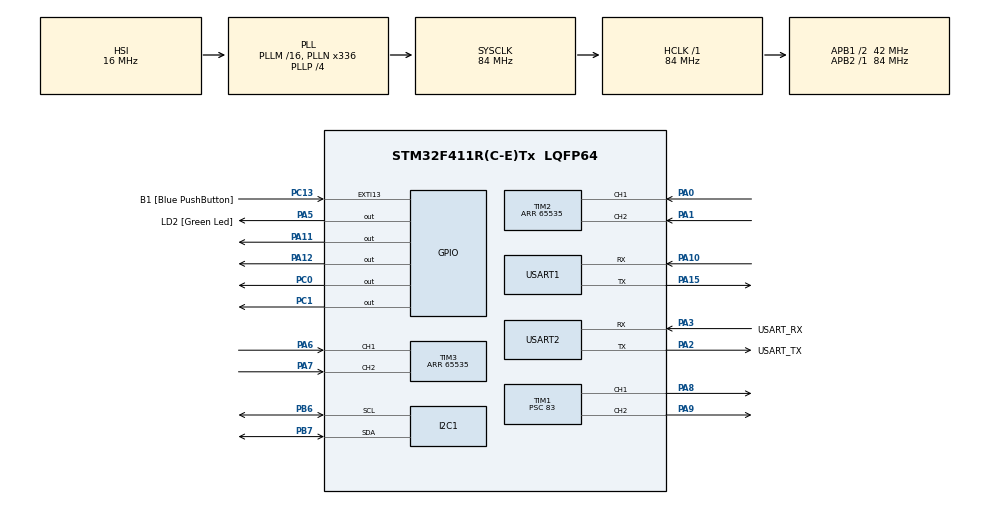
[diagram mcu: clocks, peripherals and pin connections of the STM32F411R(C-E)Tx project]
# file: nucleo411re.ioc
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Dma.Request0=USART1_RX
Dma.USART1_RX.0.Direction=DMA_PERIPH_TO_MEMORY
Dma.USART1_RX.0.FIFOMode=DMA_FIFOMODE_DISABLE
Dma.USART1_RX.0.Instance=DMA2_Stream2
Dma.USART1_RX.0.MemDataAlignment=DMA_MDATAALIGN_BYTE
Dma.USART1_RX.0.MemInc=DMA_MINC_ENABLE
Dma.USART1_RX.0.Mode=DMA_CIRCULAR
Dma.USART1_RX.0.PeriphDataAlignment=DMA_PDATAALIGN_BYTE
Dma.USART1_RX.0.PeriphInc=DMA_PINC_DISABLE
Dma.USART1_RX.0.Priority=DMA_PRIORITY_LOW
Mcu.Family=STM32F4
Mcu.Name=STM32F411R(C-E)Tx
Mcu.Package=LQFP64
NVIC.DMA2_Stream2_IRQn=true\:0\:0\:false\:false\:true\:false
NVIC.PriorityGroup=NVIC_PRIORITYGROUP_0
NVIC.TIM1_BRK_TIM9_IRQn=true\:0\:0\:false\:false\:true\:true
NVIC.TIM4_IRQn=true\:0\:0\:false\:false\:true\:true
NVIC.TIM5_IRQn=true\:0\:0\:false\:false\:true\:true
NVIC.USART1_IRQn=true\:0\:0\:false\:false\:true\:true
PA0-WKUP.Signal=S_TIM2_CH1_ETR
PA1.Signal=S_TIM2_CH2
PA10.Mode=Asynchronous
PA10.Signal=USART1_RX
PA11.Signal=GPIO_Output
PA12.Signal=GPIO_Output
PA13.GPIO_Label=TMS
PA13.Mode=Serial_Wire
PA13.Signal=SYS_JTMS-SWDIO
PA14.GPIO_Label=TCK
PA14.Mode=Serial_Wire
PA14.Signal=SYS_JTCK-SWCLK
PA15.Mode=Asynchronous
PA15.Signal=USART1_TX
PA2.GPIO_Label=USART_TX
PA2.Mode=Asynchronous
PA2.Signal=USART2_TX
PA3.GPIO_Label=USART_RX
PA3.Mode=Asynchronous
PA3.Signal=USART2_RX
PA5.GPIO_Label=LD2 [Green Led]
PA5.Signal=GPIO_Output
PA6.Signal=S_TIM3_CH1
PA7.Signal=S_TIM3_CH2
PA8.Signal=S_TIM1_CH1
PA9.Signal=S_TIM1_CH2
PB3.GPIO_Label=SWO
PB3.Signal=SYS_JTDO-SWO
PB6.GPIO_PuPdOD=GPIO_NOPULL
PB6.Mode=I2C
PB6.Signal=I2C1_SCL
PB7.GPIO_PuPdOD=GPIO_NOPULL
PB7.Mode=I2C
PB7.Signal=I2C1_SDA
PC0.GPIO_ModeDefaultOutputPP=GPIO_MODE_OUTPUT_OD
PC0.Signal=GPIO_Output
PC1.GPIO_ModeDefaultOutputPP=GPIO_MODE_OUTPUT_OD
PC1.Signal=GPIO_Output
PC13-ANTI_TAMP.GPIO_Label=B1 [Blue PushButton]
PC13-ANTI_TAMP.GPIO_ModeDefaultEXTI=GPIO_MODE_IT_FALLING
PC13-ANTI_TAMP.Signal=GPXTI13
PC14-OSC32_IN.Mode=LSE-External-Oscillator
PC14-OSC32_IN.Signal=RCC_OSC32_IN
PC15-OSC32_OUT.Mode=LSE-External-Oscillator
PC15-OSC32_OUT.Signal=RCC_OSC32_OUT
PH0\ -\ OSC_IN.Mode=HSE-External-Clock-Source
PH0\ -\ OSC_IN.Signal=RCC_OSC_IN
PH1\ -\ OSC_OUT.Mode=HSE-External-Clock-Source
PH1\ -\ OSC_OUT.Signal=RCC_OSC_OUT
ProjectManager.HeapSize=0x200
ProjectManager.StackSize=0x400
ProjectManager.TargetToolchain=Makefile
RCC.48MHZClocksFreq_Value=84000000
RCC.AHBFreq_Value=84000000
RCC.APB1CLKDivider=RCC_HCLK_DIV2
RCC.APB1Freq_Value=42000000
RCC.APB1TimFreq_Value=84000000
RCC.APB2Freq_Value=84000000
RCC.APB2TimFreq_Value=84000000
RCC.CortexFreq_Value=84000000
RCC.FLatency-AdvancedSettings=FLASH_LATENCY_2
RCC.HCLKFreq_Value=84000000
RCC.HSE_VALUE=8000000
RCC.HSI_VALUE=16000000
RCC.PLLN=336
RCC.PLLP=RCC_PLLP_DIV4
RCC.SYSCLKFreq_VALUE=84000000
RCC.SYSCLKSource=RCC_SYSCLKSOURCE_PLLCLK
RCC.VCOOutputFreq_Value=336000000
SH.S_TIM1_CH1.0=TIM1_CH1,PWM Generation1 CH1
SH.S_TIM1_CH2.0=TIM1_CH2,PWM Generation2 CH2
SH.S_TIM2_CH1_ETR.0=TIM2_CH1,Encoder_Interface
SH.S_TIM2_CH2.0=TIM2_CH2,Encoder_Interface
SH.S_TIM3_CH1.0=TIM3_CH1,Encoder_Interface
SH.S_TIM3_CH2.0=TIM3_CH2,Encoder_Interface
TIM1.Channel-PWM\ Generation1\ CH1=TIM_CHANNEL_1
TIM1.Channel-PWM\ Generation2\ CH2=TIM_CHANNEL_2
TIM1.Period=999
TIM1.Prescaler=83
TIM1.Pulse-PWM\ Generation1\ CH1=0
TIM1.Pulse-PWM\ Generation2\ CH2=0
TIM2.EncoderMode=TIM_ENCODERMODE_TI12
TIM2.Period=65535
TIM2.TIM_MasterOutputTrigger=TIM_TRGO_OC1
TIM2.TIM_MasterSlaveMode=TIM_MASTERSLAVEMODE_DISABLE
TIM3.EncoderMode=TIM_ENCODERMODE_TI12
TIM3.Period=65535
TIM3.TIM_MasterOutputTrigger=TIM_TRGO_OC1
TIM4.Channel-Input_Capture1_from_TRC=TIM_CHANNEL_1
TIM4.Period=65535
TIM4.Prescaler=167
TIM5.Channel-Input_Capture1_from_TRC=TIM_CHANNEL_1
TIM5.Period=65535
TIM5.Prescaler=167
TIM9.Period=9999
TIM9.Prescaler=839
USART1.VirtualMode=VM_ASYNC
USART2.VirtualMode=VM_ASYNC
VP_TIM1_VS_ClockSourceINT.Mode=Internal
VP_TIM4_VS_CH1.Mode=Input_Capture1_from_TRC
VP_TIM4_VS_ClockSourceINT.Mode=Internal
VP_TIM4_VS_ClockSourceITR.Mode=TriggerSource_ITR1
VP_TIM5_VS_CH1.Mode=Input_Capture1_from_TRC
VP_TIM5_VS_ClockSourceINT.Mode=Internal
VP_TIM5_VS_ClockSourceITR.Mode=TriggerSource_ITR1
VP_TIM9_VS_ClockSourceINT.Mode=Internal
board=NUCLEO-F411RE

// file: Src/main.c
/* USER CODE BEGIN Header */
/**
  ******************************************************************************
  * @file           : main.c
  * @brief          : Main program body
  ******************************************************************************
  ** This notice applies to any and all portions of this file
  * that are not between comment pairs USER CODE BEGIN and
  * USER CODE END. Other portions of this file, whether
  * inserted by the user or by software development tools
  * are owned by their respective copyright owners.
  *
  * COPYRIGHT(c) 2019 STMicroelectronics
  *
  * Redistribution and use in source and binary forms, with or without modification,
  * are permitted provided that the following conditions are met:
  *   1. Redistributions of source code must retain the above copyright notice,
  *      this list of conditions and the following disclaimer.
  *   2. Redistributions in binary form must reproduce the above copyright notice,
  *      this list of conditions and the following disclaimer in the documentation
  *      and/or other materials provided with the distribution.
  *   3. Neither the name of STMicroelectronics nor the names of its contributors
  *      may be used to endorse or promote products derived from this software
  *      without specific prior written permission.
  *
  * THIS SOFTWARE IS PROVIDED BY THE COPYRIGHT HOLDERS AND CONTRIBUTORS "AS IS"
  * AND ANY EXPRESS OR IMPLIED WARRANTIES, INCLUDING, BUT NOT LIMITED TO, THE
  * IMPLIED WARRANTIES OF MERCHANTABILITY AND FITNESS FOR A PARTICULAR PURPOSE ARE
  * DISCLAIMED. IN NO EVENT SHALL THE COPYRIGHT HOLDER OR CONTRIBUTORS BE LIABLE
  * FOR ANY DIRECT, INDIRECT, INCIDENTAL, SPECIAL, EXEMPLARY, OR CONSEQUENTIAL
  * DAMAGES (INCLUDING, BUT NOT LIMITED TO, PROCUREMENT OF SUBSTITUTE GOODS OR
  * SERVICES; LOSS OF USE, DATA, OR PROFITS; OR BUSINESS INTERRUPTION) HOWEVER
  * CAUSED AND ON ANY THEORY OF LIABILITY, WHETHER IN CONTRACT, STRICT LIABILITY,
  * OR TORT (INCLUDING NEGLIGENCE OR OTHERWISE) ARISING IN ANY WAY OUT OF THE USE
  * OF THIS SOFTWARE, EVEN IF ADVISED OF THE POSSIBILITY OF SUCH DAMAGE.
  *
  ******************************************************************************
  */
/* USER CODE END Header */

#include "main.h"

/* USER CODE BEGIN Includes */
#include "time.h"
#include "usart_com.h"
#include "vl53l0x.h"
#include "pcal9555a.h"
#include "wheel_control.h"
#include "explorer.h"
/* USER CODE END Includes */

I2C_HandleTypeDef hi2c1;

TIM_HandleTypeDef htim1;
TIM_HandleTypeDef htim2;
TIM_HandleTypeDef htim3;
TIM_HandleTypeDef htim4;
TIM_HandleTypeDef htim5;
TIM_HandleTypeDef htim9;

UART_HandleTypeDef huart1;
UART_HandleTypeDef huart2;
DMA_HandleTypeDef hdma_usart1_rx;

/* USER CODE BEGIN PV */
TIM_MasterConfigTypeDef sMasterConfig;
TIM_OC_InitTypeDef sConfigOC;
/* USER CODE END PV */

void SystemClock_Config(void);
static void MX_GPIO_Init(void);
static void MX_DMA_Init(void);
static void MX_USART2_UART_Init(void);
static void MX_TIM1_Init(void);
static void MX_I2C1_Init(void);
static void MX_USART1_UART_Init(void);
static void MX_TIM2_Init(void);
static void MX_TIM3_Init(void);
static void MX_TIM4_Init(void);
static void MX_TIM5_Init(void);
static void MX_TIM9_Init(void);

/* USER CODE BEGIN 0 */
#ifdef __GNUC__
#define PUTCHAR_PROTOTYPE int __io_putchar(int ch)
#else
#define PUTCHAR_PROTOTYPE int fputc(int ch, FILE *f)
#endif
PUTCHAR_PROTOTYPE
{
  HAL_UART_Transmit(&huart2, (uint8_t *)&ch, 1, 0xFFFF);
  return ch;
}
/* USER CODE END 0 */

int main(void)
{

  /* MCU Configuration--------------------------------------------------------*/

  /* Reset of all peripherals, Initializes the Flash interface and the Systick. */
  HAL_Init();

  /* Configure the system clock */
  SystemClock_Config();

  /* Initialize all configured peripherals */
  MX_GPIO_Init();
  MX_DMA_Init();
  MX_USART2_UART_Init();
  MX_TIM1_Init();
  MX_I2C1_Init();
  MX_USART1_UART_Init();
  MX_TIM2_Init();
  MX_TIM3_Init();
  MX_TIM4_Init();
  MX_TIM5_Init();
  MX_TIM9_Init();
  /* USER CODE BEGIN 2 */
  setbuf(stdout, NULL);

  printf("\n");
  printf("Quickle cleaner robot booted.\n");
  printf("\n");

  InitializeTime();
  InitializeUsartCom(&huart1);
  InitializeWheelControl(&htim1, &htim2, &htim3);
  Set_VL53L0X_Address();
  Init_VL53L0X();
  InitializeExplorer();

#if 0
  sample_loop_back();

  while(1)
    HAL_Delay(1000);
#endif
  /* USER CODE END 2 */

  /* Infinite loop */
  /* USER CODE BEGIN WHILE */
  int count = 0;
  bool enabled_auto = true;
  uint16_t value[6] = {0, 0, 0, 0, 0, 0};
  while (1)
  {
    TWIST twist;
    float speed[2];
    float target[2];

    GetCurrentSpeed(speed);
    if ((count++) > 10)
    {
      TWIST current_twist;
      count = 0;
      Get_VL53L0X(value);
      current_twist = GetCurrentTwist();

      //SendSpeed(speed);
      SendSensor(value);
      SendTwist(current_twist);
    }

    while (ParseProcess(&twist))
    {
      SetTwistCommand(twist);
      enabled_auto = false;
      ResetState();
      // printf("command: %d, %d\n", (int)(twist.linear * 1000.0), (int)(twist.angular * 1000.0));
    }

    if (enabled_auto)
    {
      ExplorerStateControl(speed, target, value + 3, value);
      SetTargetSpeed(target);
    }

    MotorControl();

    GetTime();
    /* USER CODE END WHILE */

    /* USER CODE BEGIN 3 */
    HAL_Delay(10);
  }
  /* USER CODE END 3 */
}

void SystemClock_Config(void)
{
  RCC_OscInitTypeDef RCC_OscInitStruct = {0};
  RCC_ClkInitTypeDef RCC_ClkInitStruct = {0};

  /**Configure the main internal regulator output voltage
  */
  __HAL_RCC_PWR_CLK_ENABLE();
  __HAL_PWR_VOLTAGESCALING_CONFIG(PWR_REGULATOR_VOLTAGE_SCALE1);
  /**Initializes the CPU, AHB and APB busses clocks
  */
  RCC_OscInitStruct.OscillatorType = RCC_OSCILLATORTYPE_HSI;
  RCC_OscInitStruct.HSIState = RCC_HSI_ON;
  RCC_OscInitStruct.HSICalibrationValue = RCC_HSICALIBRATION_DEFAULT;
  RCC_OscInitStruct.PLL.PLLState = RCC_PLL_ON;
  RCC_OscInitStruct.PLL.PLLSource = RCC_PLLSOURCE_HSI;
  RCC_OscInitStruct.PLL.PLLM = 16;
  RCC_OscInitStruct.PLL.PLLN = 336;
  RCC_OscInitStruct.PLL.PLLP = RCC_PLLP_DIV4;
  RCC_OscInitStruct.PLL.PLLQ = 4;
  if (HAL_RCC_OscConfig(&RCC_OscInitStruct) != HAL_OK)
  {
    Error_Handler();
  }
  /**Initializes the CPU, AHB and APB busses clocks
  */
  RCC_ClkInitStruct.ClockType = RCC_CLOCKTYPE_HCLK|RCC_CLOCKTYPE_SYSCLK
                              |RCC_CLOCKTYPE_PCLK1|RCC_CLOCKTYPE_PCLK2;
  RCC_ClkInitStruct.SYSCLKSource = RCC_SYSCLKSOURCE_PLLCLK;
  RCC_ClkInitStruct.AHBCLKDivider = RCC_SYSCLK_DIV1;
  RCC_ClkInitStruct.APB1CLKDivider = RCC_HCLK_DIV2;
  RCC_ClkInitStruct.APB2CLKDivider = RCC_HCLK_DIV1;

  if (HAL_RCC_ClockConfig(&RCC_ClkInitStruct, FLASH_LATENCY_2) != HAL_OK)
  {
    Error_Handler();
  }
}

static void MX_I2C1_Init(void)
{

  hi2c1.Instance = I2C1;
  hi2c1.Init.ClockSpeed = 100000;
  hi2c1.Init.DutyCycle = I2C_DUTYCYCLE_2;
  hi2c1.Init.OwnAddress1 = 0;
  hi2c1.Init.AddressingMode = I2C_ADDRESSINGMODE_7BIT;
  hi2c1.Init.DualAddressMode = I2C_DUALADDRESS_DISABLE;
  hi2c1.Init.OwnAddress2 = 0;
  hi2c1.Init.GeneralCallMode = I2C_GENERALCALL_DISABLE;
  hi2c1.Init.NoStretchMode = I2C_NOSTRETCH_DISABLE;
  if (HAL_I2C_Init(&hi2c1) != HAL_OK)
  {
    Error_Handler();
  }

}

static void MX_TIM1_Init(void)
{

  TIM_ClockConfigTypeDef sClockSourceConfig = {0};
  TIM_MasterConfigTypeDef sMasterConfig = {0};
  TIM_OC_InitTypeDef sConfigOC = {0};
  TIM_BreakDeadTimeConfigTypeDef sBreakDeadTimeConfig = {0};

  htim1.Instance = TIM1;
  htim1.Init.Prescaler = 83;
  htim1.Init.CounterMode = TIM_COUNTERMODE_UP;
  htim1.Init.Period = 999;
  htim1.Init.ClockDivision = TIM_CLOCKDIVISION_DIV1;
  htim1.Init.RepetitionCounter = 0;
  if (HAL_TIM_Base_Init(&htim1) != HAL_OK)
  {
    Error_Handler();
  }
  sClockSourceConfig.ClockSource = TIM_CLOCKSOURCE_INTERNAL;
  if (HAL_TIM_ConfigClockSource(&htim1, &sClockSourceConfig) != HAL_OK)
  {
    Error_Handler();
  }
  if (HAL_TIM_PWM_Init(&htim1) != HAL_OK)
  {
    Error_Handler();
  }
  sMasterConfig.MasterOutputTrigger = TIM_TRGO_RESET;
  sMasterConfig.MasterSlaveMode = TIM_MASTERSLAVEMODE_DISABLE;
  if (HAL_TIMEx_MasterConfigSynchronization(&htim1, &sMasterConfig) != HAL_OK)
  {
    Error_Handler();
  }
  sConfigOC.OCMode = TIM_OCMODE_PWM1;
  sConfigOC.Pulse = 0;
  sConfigOC.OCPolarity = TIM_OCPOLARITY_HIGH;
  sConfigOC.OCNPolarity = TIM_OCNPOLARITY_HIGH;
  sConfigOC.OCFastMode = TIM_OCFAST_DISABLE;
  sConfigOC.OCIdleState = TIM_OCIDLESTATE_RESET;
  sConfigOC.OCNIdleState = TIM_OCNIDLESTATE_RESET;
  if (HAL_TIM_PWM_ConfigChannel(&htim1, &sConfigOC, TIM_CHANNEL_1) != HAL_OK)
  {
    Error_Handler();
  }
  if (HAL_TIM_PWM_ConfigChannel(&htim1, &sConfigOC, TIM_CHANNEL_2) != HAL_OK)
  {
    Error_Handler();
  }
  sBreakDeadTimeConfig.OffStateRunMode = TIM_OSSR_DISABLE;
  sBreakDeadTimeConfig.OffStateIDLEMode = TIM_OSSI_DISABLE;
  sBreakDeadTimeConfig.LockLevel = TIM_LOCKLEVEL_OFF;
  sBreakDeadTimeConfig.DeadTime = 0;
  sBreakDeadTimeConfig.BreakState = TIM_BREAK_DISABLE;
  sBreakDeadTimeConfig.BreakPolarity = TIM_BREAKPOLARITY_HIGH;
  sBreakDeadTimeConfig.AutomaticOutput = TIM_AUTOMATICOUTPUT_DISABLE;
  if (HAL_TIMEx_ConfigBreakDeadTime(&htim1, &sBreakDeadTimeConfig) != HAL_OK)
  {
    Error_Handler();
  }
  HAL_TIM_MspPostInit(&htim1);

}

static void MX_TIM2_Init(void)
{

  TIM_Encoder_InitTypeDef sConfig = {0};
  TIM_MasterConfigTypeDef sMasterConfig = {0};

  htim2.Instance = TIM2;
  htim2.Init.Prescaler = 0;
  htim2.Init.CounterMode = TIM_COUNTERMODE_UP;
  htim2.Init.Period = 65535;
  htim2.Init.ClockDivision = TIM_CLOCKDIVISION_DIV1;
  sConfig.EncoderMode = TIM_ENCODERMODE_TI12;
  sConfig.IC1Polarity = TIM_ICPOLARITY_RISING;
  sConfig.IC1Selection = TIM_ICSELECTION_DIRECTTI;
  sConfig.IC1Prescaler = TIM_ICPSC_DIV1;
  sConfig.IC1Filter = 0;
  sConfig.IC2Polarity = TIM_ICPOLARITY_RISING;
  sConfig.IC2Selection = TIM_ICSELECTION_DIRECTTI;
  sConfig.IC2Prescaler = TIM_ICPSC_DIV1;
  sConfig.IC2Filter = 0;
  if (HAL_TIM_Encoder_Init(&htim2, &sConfig) != HAL_OK)
  {
    Error_Handler();
  }
  sMasterConfig.MasterOutputTrigger = TIM_TRGO_OC1;
  sMasterConfig.MasterSlaveMode = TIM_MASTERSLAVEMODE_DISABLE;
  if (HAL_TIMEx_MasterConfigSynchronization(&htim2, &sMasterConfig) != HAL_OK)
  {
    Error_Handler();
  }

}

static void MX_TIM3_Init(void)
{

  TIM_Encoder_InitTypeDef sConfig = {0};
  TIM_MasterConfigTypeDef sMasterConfig = {0};

  htim3.Instance = TIM3;
  htim3.Init.Prescaler = 0;
  htim3.Init.CounterMode = TIM_COUNTERMODE_UP;
  htim3.Init.Period = 65535;
  htim3.Init.ClockDivision = TIM_CLOCKDIVISION_DIV1;
  sConfig.EncoderMode = TIM_ENCODERMODE_TI12;
  sConfig.IC1Polarity = TIM_ICPOLARITY_RISING;
  sConfig.IC1Selection = TIM_ICSELECTION_DIRECTTI;
  sConfig.IC1Prescaler = TIM_ICPSC_DIV1;
  sConfig.IC1Filter = 0;
  sConfig.IC2Polarity = TIM_ICPOLARITY_RISING;
  sConfig.IC2Selection = TIM_ICSELECTION_DIRECTTI;
  sConfig.IC2Prescaler = TIM_ICPSC_DIV1;
  sConfig.IC2Filter = 0;
  if (HAL_TIM_Encoder_Init(&htim3, &sConfig) != HAL_OK)
  {
    Error_Handler();
  }
  sMasterConfig.MasterOutputTrigger = TIM_TRGO_OC1;
  sMasterConfig.MasterSlaveMode = TIM_MASTERSLAVEMODE_DISABLE;
  if (HAL_TIMEx_MasterConfigSynchronization(&htim3, &sMasterConfig) != HAL_OK)
  {
    Error_Handler();
  }

}

static void MX_TIM4_Init(void)
{

  TIM_ClockConfigTypeDef sClockSourceConfig = {0};
  TIM_SlaveConfigTypeDef sSlaveConfig = {0};
  TIM_MasterConfigTypeDef sMasterConfig = {0};
  TIM_IC_InitTypeDef sConfigIC = {0};

  htim4.Instance = TIM4;
  htim4.Init.Prescaler = 167;
  htim4.Init.CounterMode = TIM_COUNTERMODE_UP;
  htim4.Init.Period = 65535;
  htim4.Init.ClockDivision = TIM_CLOCKDIVISION_DIV1;
  if (HAL_TIM_Base_Init(&htim4) != HAL_OK)
  {
    Error_Handler();
  }
  sClockSourceConfig.ClockSource = TIM_CLOCKSOURCE_INTERNAL;
  if (HAL_TIM_ConfigClockSource(&htim4, &sClockSourceConfig) != HAL_OK)
  {
    Error_Handler();
  }
  if (HAL_TIM_IC_Init(&htim4) != HAL_OK)
  {
    Error_Handler();
  }
  sSlaveConfig.SlaveMode = TIM_SLAVEMODE_DISABLE;
  sSlaveConfig.InputTrigger = TIM_TS_ITR1;
  if (HAL_TIM_SlaveConfigSynchronization(&htim4, &sSlaveConfig) != HAL_OK)
  {
    Error_Handler();
  }
  sMasterConfig.MasterOutputTrigger = TIM_TRGO_RESET;
  sMasterConfig.MasterSlaveMode = TIM_MASTERSLAVEMODE_DISABLE;
  if (HAL_TIMEx_MasterConfigSynchronization(&htim4, &sMasterConfig) != HAL_OK)
  {
    Error_Handler();
  }
  sConfigIC.ICPolarity = TIM_INPUTCHANNELPOLARITY_RISING;
  sConfigIC.ICSelection = TIM_ICSELECTION_TRC;
  sConfigIC.ICPrescaler = TIM_ICPSC_DIV1;
  sConfigIC.ICFilter = 0;
  if (HAL_TIM_IC_ConfigChannel(&htim4, &sConfigIC, TIM_CHANNEL_1) != HAL_OK)
  {
    Error_Handler();
  }

}

static void MX_TIM5_Init(void)
{

  TIM_ClockConfigTypeDef sClockSourceConfig = {0};
  TIM_SlaveConfigTypeDef sSlaveConfig = {0};
  TIM_MasterConfigTypeDef sMasterConfig = {0};
  TIM_IC_InitTypeDef sConfigIC = {0};

  htim5.Instance = TIM5;
  htim5.Init.Prescaler = 167;
  htim5.Init.CounterMode = TIM_COUNTERMODE_UP;
  htim5.Init.Period = 65535;
  htim5.Init.ClockDivision = TIM_CLOCKDIVISION_DIV1;
  if (HAL_TIM_Base_Init(&htim5) != HAL_OK)
  {
    Error_Handler();
  }
  sClockSourceConfig.ClockSource = TIM_CLOCKSOURCE_INTERNAL;
  if (HAL_TIM_ConfigClockSource(&htim5, &sClockSourceConfig) != HAL_OK)
  {
    Error_Handler();
  }
  if (HAL_TIM_IC_Init(&htim5) != HAL_OK)
  {
    Error_Handler();
  }
  sSlaveConfig.SlaveMode = TIM_SLAVEMODE_DISABLE;
  sSlaveConfig.InputTrigger = TIM_TS_ITR1;
  if (HAL_TIM_SlaveConfigSynchronization(&htim5, &sSlaveConfig) != HAL_OK)
  {
    Error_Handler();
  }
  sMasterConfig.MasterOutputTrigger = TIM_TRGO_RESET;
  sMasterConfig.MasterSlaveMode = TIM_MASTERSLAVEMODE_DISABLE;
  if (HAL_TIMEx_MasterConfigSynchronization(&htim5, &sMasterConfig) != HAL_OK)
  {
    Error_Handler();
  }
  sConfigIC.ICPolarity = TIM_INPUTCHANNELPOLARITY_RISING;
  sConfigIC.ICSelection = TIM_ICSELECTION_TRC;
  sConfigIC.ICPrescaler = TIM_ICPSC_DIV1;
  sConfigIC.ICFilter = 0;
  if (HAL_TIM_IC_ConfigChannel(&htim5, &sConfigIC, TIM_CHANNEL_1) != HAL_OK)
  {
    Error_Handler();
  }

}

static void MX_TIM9_Init(void)
{

  TIM_ClockConfigTypeDef sClockSourceConfig = {0};

  htim9.Instance = TIM9;
  htim9.Init.Prescaler = 839;
  htim9.Init.CounterMode = TIM_COUNTERMODE_UP;
  htim9.Init.Period = 9999;
  htim9.Init.ClockDivision = TIM_CLOCKDIVISION_DIV1;
  if (HAL_TIM_Base_Init(&htim9) != HAL_OK)
  {
    Error_Handler();
  }
  sClockSourceConfig.ClockSource = TIM_CLOCKSOURCE_INTERNAL;
  if (HAL_TIM_ConfigClockSource(&htim9, &sClockSourceConfig) != HAL_OK)
  {
    Error_Handler();
  }

}

static void MX_USART1_UART_Init(void)
{

  /* USER CODE BEGIN USART1_Init 1 */
  /* These uart interrupts halt any ongoing transfer if an error occurs, disable them */
  /* Disable the UART Parity Error Interrupt */
  __HAL_UART_DISABLE_IT(&huart1, UART_IT_PE);
  /* Disable the UART Error Interrupt: (Frame error, noise error, overrun error) */
  __HAL_UART_DISABLE_IT(&huart1, UART_IT_ERR);
  /* USER CODE END USART1_Init 1 */
  huart1.Instance = USART1;
  huart1.Init.BaudRate = 115200;
  huart1.Init.WordLength = UART_WORDLENGTH_8B;
  huart1.Init.StopBits = UART_STOPBITS_1;
  huart1.Init.Parity = UART_PARITY_NONE;
  huart1.Init.Mode = UART_MODE_TX_RX;
  huart1.Init.HwFlowCtl = UART_HWCONTROL_NONE;
  huart1.Init.OverSampling = UART_OVERSAMPLING_16;
  if (HAL_UART_Init(&huart1) != HAL_OK)
  {
    Error_Handler();
  }

}

static void MX_USART2_UART_Init(void)
{

  huart2.Instance = USART2;
  huart2.Init.BaudRate = 115200;
  huart2.Init.WordLength = UART_WORDLENGTH_8B;
  huart2.Init.StopBits = UART_STOPBITS_1;
  huart2.Init.Parity = UART_PARITY_NONE;
  huart2.Init.Mode = UART_MODE_TX_RX;
  huart2.Init.HwFlowCtl = UART_HWCONTROL_NONE;
  huart2.Init.OverSampling = UART_OVERSAMPLING_16;
  if (HAL_UART_Init(&huart2) != HAL_OK)
  {
    Error_Handler();
  }

}

static void MX_DMA_Init(void)
{
  /* DMA controller clock enable */
  __HAL_RCC_DMA2_CLK_ENABLE();

  /* DMA interrupt init */
  /* DMA2_Stream2_IRQn interrupt configuration */
  HAL_NVIC_SetPriority(DMA2_Stream2_IRQn, 0, 0);
  HAL_NVIC_EnableIRQ(DMA2_Stream2_IRQn);

}

static void MX_GPIO_Init(void)
{
  GPIO_InitTypeDef GPIO_InitStruct = {0};

  /* GPIO Ports Clock Enable */
  __HAL_RCC_GPIOC_CLK_ENABLE();
  __HAL_RCC_GPIOH_CLK_ENABLE();
  __HAL_RCC_GPIOA_CLK_ENABLE();
  __HAL_RCC_GPIOB_CLK_ENABLE();

  /*Configure GPIO pin Output Level */
  HAL_GPIO_WritePin(GPIOC, GPIO_PIN_0|GPIO_PIN_1, GPIO_PIN_RESET);

  /*Configure GPIO pin Output Level */
  HAL_GPIO_WritePin(GPIOA, LD2_Pin|GPIO_PIN_11|GPIO_PIN_12, GPIO_PIN_RESET);

  /*Configure GPIO pin : B1_Pin */
  GPIO_InitStruct.Pin = B1_Pin;
  GPIO_InitStruct.Mode = GPIO_MODE_IT_FALLING;
  GPIO_InitStruct.Pull = GPIO_NOPULL;
  HAL_GPIO_Init(B1_GPIO_Port, &GPIO_InitStruct);

  /*Configure GPIO pins : PC0 PC1 */
  GPIO_InitStruct.Pin = GPIO_PIN_0|GPIO_PIN_1;
  GPIO_InitStruct.Mode = GPIO_MODE_OUTPUT_OD;
  GPIO_InitStruct.Pull = GPIO_NOPULL;
  GPIO_InitStruct.Speed = GPIO_SPEED_FREQ_LOW;
  HAL_GPIO_Init(GPIOC, &GPIO_InitStruct);

  /*Configure GPIO pins : LD2_Pin PA11 PA12 */
  GPIO_InitStruct.Pin = LD2_Pin|GPIO_PIN_11|GPIO_PIN_12;
  GPIO_InitStruct.Mode = GPIO_MODE_OUTPUT_PP;
  GPIO_InitStruct.Pull = GPIO_NOPULL;
  GPIO_InitStruct.Speed = GPIO_SPEED_FREQ_LOW;
  HAL_GPIO_Init(GPIOA, &GPIO_InitStruct);

}

void Error_Handler(void)
{
}

/************************ (C) COPYRIGHT STMicroelectronics *****END OF FILE****/
